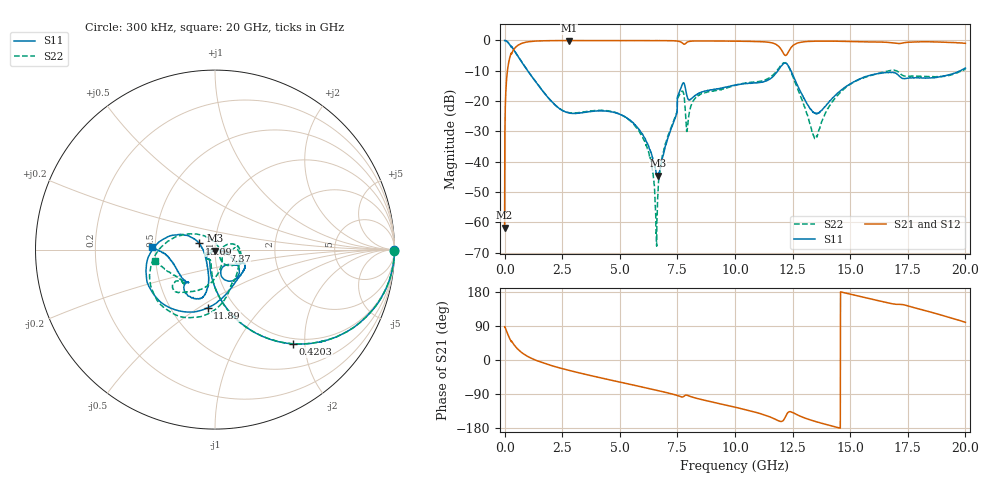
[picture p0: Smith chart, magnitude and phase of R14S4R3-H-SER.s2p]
!{R14S4R3}
!Johanson Technology Inc.
!www.johansontechnology.com
!Test Board Conditions:
!Substrate Type  RO4350B
!Substrate Thickness  20 mil
!Substrate Dk  3.66
!TL Type: GCPW
!TL Trace Width  36 mil
!TL Gap  12 mil
!Electrode orientation  Horizontal
!DUT TOPOLOGY	SERIES
!Mounting Pad LxW  26x36 mil
! Created Wed Nov 25 17:33:21 2020
! 2 Port Network Data from SP1.SP block
! freq  magS11  angS11  magS21  angS21  magS12  angS12  magS22  angS22
# khz S ma R 50
! decimated to every 10th point (10 MHz spacing) of the original 1 MHz Johanson file; values unchanged
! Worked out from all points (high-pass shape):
!   2001 points, 300 kHz to 20 GHz, reference 50 ohm
!   highest |S21| = -0.03 dB at 2.8 GHz (marker M1); lowest = -61.7 dB at 300 kHz (marker M2)
!   |S21| within 3 dB of the highest: 395.7 MHz to 12.01 GHz (11.61 GHz wide, 187 % of centre); 12.38 GHz to end of sweep
!   lowest |S11| = -44.6 dB at 6.66 GHz (marker M3), VSWR 1.01, Z = 50.2 - j0.566 ohm
!   |S11| at or under -10 dB: 1.001 GHz to 11.86 GHz (10.86 GHz wide, 169 % of centre); 12.43 GHz to 19.78 GHz (7.35 GHz wide, 45.6 % of centre)
!   |S22| runs from -67.9 to 0.0 dB; largest |S21 - S12| = 0.019
!   S11 on the Smith chart (normalised r, x): 300 kHz: open; 420.3 MHz: 0.90, -1.76; 7.37 GHz: 1.10, -0.02; 11.89 GHz: 0.75, -0.54; 13.09 GHz: 0.83, +0.06; 20 GHz: 0.48, +0.02
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300  0.997 -0.2  0.0008177 87.7  0.0008271 90.6  0.9978 -0.3
130300  0.9416 -20.8  0.3329 69.1  0.3339 69.1  0.9419 -20.7
420300  0.6805 -50.5  0.7275 39.2  0.729 39.2  0.6814 -50.4
1140300  0.2668 -84.5  0.9614 5.2  0.9612 5.1  0.2677 -84.7
2800300  0.06351 -119.4  0.996 -27.4  0.9947 -27.4  0.06422 -113.3
3340300  0.06416 -126.4  0.9946 -35.5  0.9943 -35.5  0.06519 -122.1
5620300  0.04218 -145.1  0.9936 -66.6  0.9938 -66.6  0.04068 -164.5
6660300  0.005884 -73.6  0.9941 -80.8  0.9932 -80.8  0.003347 7.8
6670300  0.006275 -69.7  0.9929 -80.9  0.993 -80.9  0.004008 5.2
6870300  0.01239 -17.6  0.9927 -83.7  0.9933 -83.7  0.01342 -4.4
7370300  0.04902 -9.1  0.9862 -91.4  0.987 -91.4  0.05132 -17.2
7730300  0.1944 -48.2  0.8952 -97.5  0.897 -97.5  0.1455 -27.5
7950300  0.1097 -69.3  0.9479 -93.6  0.9489 -93.5  0.04082 12.7
8390300  0.1312 -39.9  0.9804 -102.0  0.9802 -102.0  0.1213 11.4
1.00003e7  0.1831 -25.6  0.9718 -124.5  0.972 -124.5  0.1815 -47.7
1.18903e7  0.3269 -97.3  0.802 -160.5  0.806 -160.5  0.3434 -92.1
1.22903e7  0.3938 -166.3  0.6169 -139.2  0.6207 -139.5  0.3912 -158.7
1.30903e7  0.09529 158.9  0.9564 -154.4  0.9574 -154.4  0.06659 115.1
1.33403e7  0.06909 177.1  0.9687 -159.5  0.9702 -159.4  0.0316 76.4
1.48903e7  0.1799 -101.4  0.963 175.3  0.966 175.1  0.1771 -94.7
1.66703e7  0.2943 -114.8  0.9276 150.5  0.9204 150.3  0.3162 -130.8
2e7  0.3509 177.7  0.8944 99.4  0.8936 99.7  0.3373 -169.4
